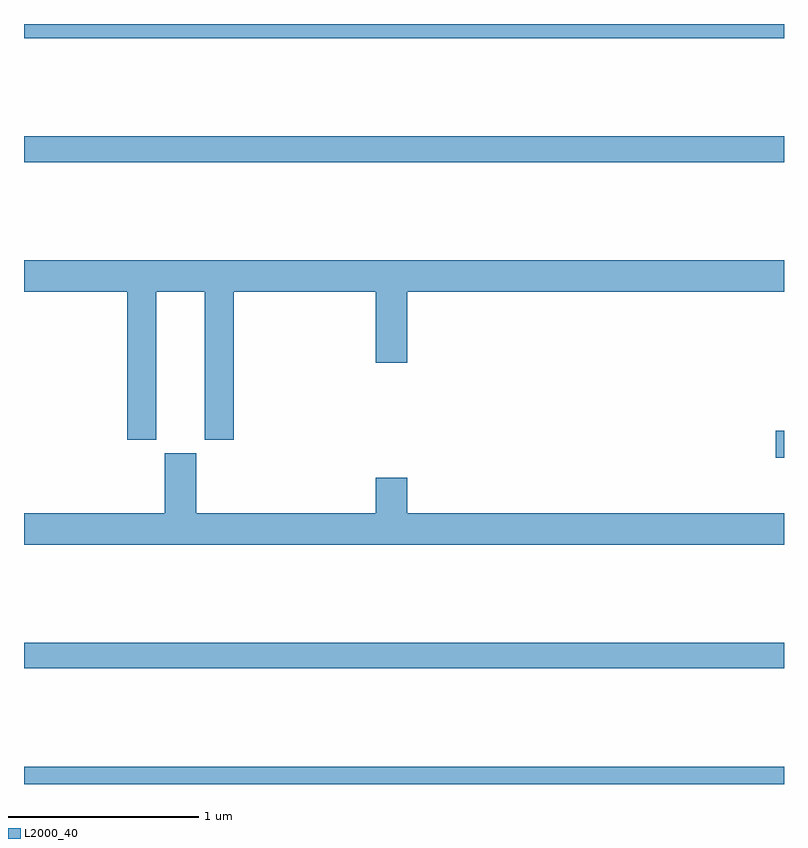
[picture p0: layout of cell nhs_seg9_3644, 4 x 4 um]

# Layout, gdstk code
import gdstk
lib = gdstk.Library(unit=1e-6, precision=1e-09)
def R(c, l, rs):  # rectangles x0, y0, x1, y1
    for r in rs: c.add(gdstk.rectangle(r[:2], r[2:], *l))
def P(c, l, *ps):  # polygons
    for p in ps: c.add(gdstk.Polygon(p, *l))
L2000_40 = (2000, 40)

nhs_seg9_3644 = lib.new_cell('nhs_seg9_3644')
R(nhs_seg9_3644, L2000_40, [(319,1188.5,323,1188.592), (319,1189.108,323,1189.244), (322.956,1190.218,323,1190.36), (319,1191.772,323,1191.908), (319,1192.424,323,1192.5)])
P(nhs_seg9_3644, L2000_40, [(319.696,1191.092),(319.952,1191.092),(319.952,1190.313),(320.105,1190.313),(320.105,1191.092),(320.852,1191.092),(320.852,1190.718),(321.016,1190.718),(321.016,1191.092),(323,1191.092),(323,1191.256),(319,1191.256),(319,1191.092),(319.544,1191.092),(319.544,1190.313),(319.696,1190.313)],
  [(323,1189.924),(321.016,1189.924),(321.016,1190.113),(320.852,1190.113),(320.852,1189.924),(319.906,1189.924),(319.906,1190.241),(319.742,1190.241),(319.742,1189.924),(319,1189.924),(319,1189.76),(323,1189.76)])

lib.write_gds('nhs_seg9_3644.gds')
